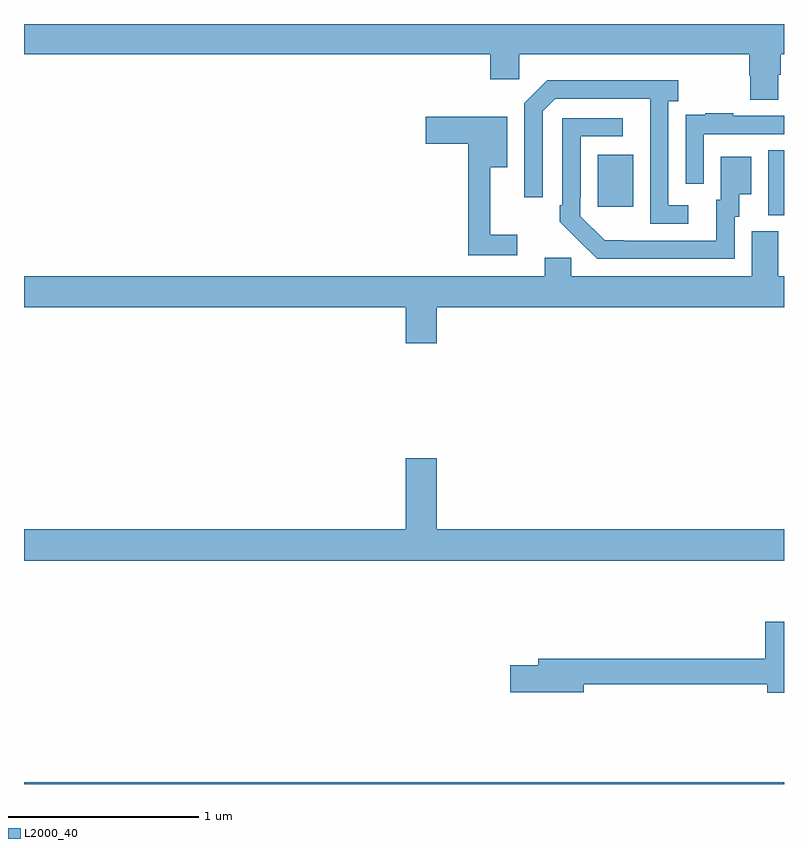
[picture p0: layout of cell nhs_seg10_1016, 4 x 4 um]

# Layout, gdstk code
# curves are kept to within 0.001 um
import gdstk
lib = gdstk.Library(unit=1e-6, precision=1e-09)
def R(c, l, rs):  # rectangles x0, y0, x1, y1
    for r in rs: c.add(gdstk.rectangle(r[:2], r[2:], *l))
def P(c, l, *ps):  # polygons
    for p in ps: c.add(gdstk.Polygon(p, *l))
L2000_40 = (2000, 40)

nhs_seg10_1016 = lib.new_cell('nhs_seg10_1016')
R(nhs_seg10_1016, L2000_40, [(163,1272.5,167,1272.508), (166.916,1275.493,167,1275.836), (166.019,1275.537,166.207,1275.811)])
P(nhs_seg10_1016, L2000_40, [(166.969,1276.234),(166.982,1276.234),(166.982,1276.34),(167,1276.34),(167,1276.5),(163,1276.5),(163,1276.34),(165.455,1276.34),(165.455,1276.209),(165.606,1276.209),(165.606,1276.34),(166.817,1276.34),(166.817,1276.227),(166.822,1276.227),(166.822,1276.102),(166.969,1276.102)],
  [(166.495,1275.546),(166.392,1275.546),(166.392,1276.094),(166.444,1276.094),(166.444,1276.204),(165.754,1276.204),(165.633,1276.083),(165.633,1275.588),(165.729,1275.588),(165.729,1276.041),(165.795,1276.107),(166.295,1276.107),(166.296,1275.45),(166.495,1275.45)],
  [(166.578,1275.921),(167,1275.921),(167,1276.017),(166.733,1276.017),(166.733,1276.03),(166.585,1276.03),(166.585,1276.023),(166.483,1276.023),(166.483,1275.914),(166.482,1275.914),(166.482,1275.66),(166.578,1275.66)],
  [(165.595,1275.391),(165.455,1275.391),(165.455,1275.746),(165.544,1275.746),(165.544,1276.011),(165.114,1276.011),(165.114,1275.869),(165.337,1275.869),(165.337,1275.282),(165.595,1275.282)],
  [(166.74,1275.486),(166.765,1275.486),(166.765,1275.605),(166.828,1275.605),(166.828,1275.802),(166.667,1275.802),(166.667,1275.576),(166.643,1275.576),(166.643,1275.36),(166.056,1275.361),(165.927,1275.489),(165.927,1275.589),(165.93,1275.589),(165.93,1275.909),(166.15,1275.909),(166.15,1276.005),(165.834,1276.005),(165.834,1275.547),(165.819,1275.547),(165.819,1275.459),(166.016,1275.264),(166.74,1275.264)],
  [(165.172,1275.008),(167,1275.008),(167,1275.172),(166.969,1275.172),(166.969,1275.408),(166.829,1275.408),(166.829,1275.172),(165.879,1275.172),(165.879,1275.27),(165.74,1275.27),(165.74,1275.172),(163,1275.172),(163,1275.008),(165.008,1275.008),(165.008,1274.82),(165.172,1274.82)],
  [(167,1273.84),(165.172,1273.84),(165.172,1274.215),(165.008,1274.215),(165.008,1273.84),(163,1273.84),(163,1273.676),(167,1273.676)],
  [(167,1273.354),(166.901,1273.354),(166.901,1273.16),(165.707,1273.16),(165.707,1273.124),(165.558,1273.124),(165.558,1272.982),(165.946,1272.982),(165.946,1273.024),(166.913,1273.024),(166.913,1272.98),(167,1272.98)])

lib.write_gds('nhs_seg10_1016.gds')
